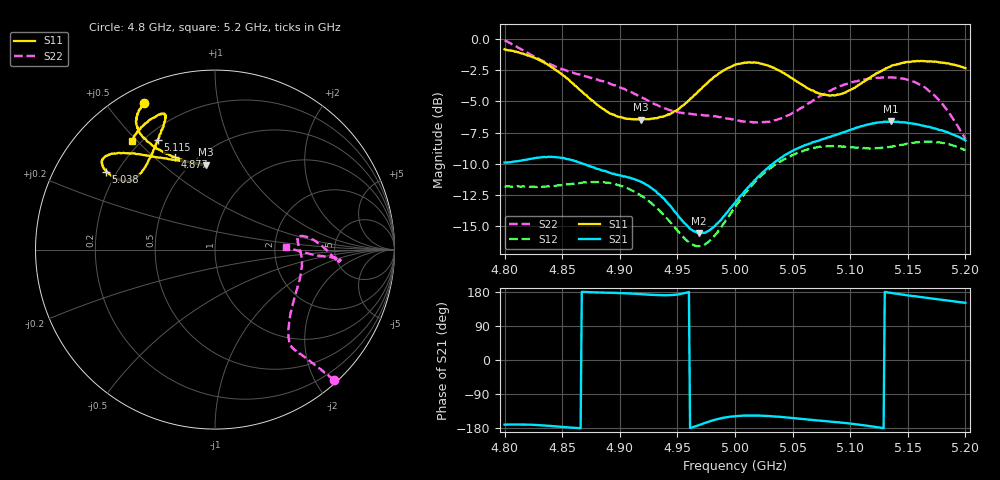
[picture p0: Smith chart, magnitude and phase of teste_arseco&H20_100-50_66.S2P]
! Network Analyzer HP8722D
! Hewlett-Packard
! Data name: Linha & Wilkinson
! Saver's name: Rodrigo Anjos
! Comments: Teste da utilização de aquisição
! continua pelo VNA HP8722D
! Time and date: 6/5/2025 13:07
!  Frequency  S11  S21  S12  S22
# HZ  S  MA R 50
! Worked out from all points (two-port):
!   401 points, 4.8 GHz to 5.2 GHz, reference 50 ohm
!   highest |S21| = -6.61 dB at 5.135 GHz (marker M1); lowest = -15.6 dB at 4.969 GHz (marker M2)
!   |S21| within 3 dB of the highest: 4.822 GHz to 4.854 GHz (31.63 MHz wide, 0.654 % of centre); 5.039 GHz to end of sweep
!   lowest |S11| = -6.5 dB at 4.918 GHz (marker M3), VSWR 2.81, Z = 29.2 + j35.7 ohm
!   |S11| at or under -10 dB: nowhere
!   |S22| runs from -8.0 to -0.1 dB; largest |S21 - S12| = 0.83
!   S11 on the Smith chart (normalised r, x): 4.8 GHz: 0.07, +0.63; 4.877 GHz: 0.39, +0.59; 5.038 GHz: 0.16, +0.31; 5.115 GHz: 0.25, +0.58; 5.2 GHz: 0.17, +0.48
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4.8e9  0.9066 115.8  0.3201 -170.5  0.2568 -86.0  0.9837 -47.5
4.832e9  0.8135 122.3  0.3359 -172.3  0.2558 -77.5  0.8203 -49.6
4.849e9  0.7243 122.1  0.3339 -176.4  0.2598 -71.8  0.7576 -50.6
4.867e9  0.6154 117.9  0.3175 179.8  0.2652 -67.3  0.7149 -51.5
4.877e9  0.563 113.5  0.3058 178.5  0.2674 -66.3  0.6929 -51.9
4.899e9  0.4868 101.7  0.2848 176.7  0.26 -66.6  0.6417 -50.2
4.918e9  0.475 96.0  0.2681 173.8  0.2364 -68.6  0.5857 -45.2
4.934e9  0.4854 99.2  0.2394 171.1  0.2069 -69.4  0.5382 -37.5
4.949e9  0.5162 108.7  0.2006 172.7  0.1734 -66.0  0.5097 -27.8
4.969e9  0.6212 123.6  0.1666 -171.5  0.1482 -47.8  0.4966 -14.9
4.981e9  0.698 129.9  0.1759 -159.2  0.1607 -34.0  0.4894 -8.8
5e9  0.7867 137.2  0.2204 -148.4  0.2126 -21.5  0.4724 -0.3
5.019e9  0.8015 141.9  0.2775 -146.7  0.2718 -18.3  0.4626 5.9
5.038e9  0.7462 144.3  0.3294 -149.7  0.3207 -18.3  0.4775 8.9
5.067e9  0.6212 142.0  0.3853 -158.0  0.3654 -20.5  0.5625 4.7
5.088e9  0.5954 133.1  0.4132 -164.0  0.3714 -23.7  0.6368 -1.7
5.115e9  0.69 117.6  0.4538 -173.6  0.3641 -26.7  0.6902 -5.4
5.134e9  0.7704 111.1  0.4647 177.8  0.369 -28.6  0.7007 -4.8
5.135e9  0.7741 111.0  0.4669 177.3  0.3701 -28.7  0.7001 -4.7
5.164e9  0.8133 113.3  0.4485 165.1  0.3873 -35.9  0.6419 -3.8
5.18e9  0.8035 119.0  0.4301 159.0  0.3835 -40.9  0.5484 -3.0
5.2e9  0.7628 127.3  0.3919 150.8  0.3584 -46.3  0.3969 2.5
